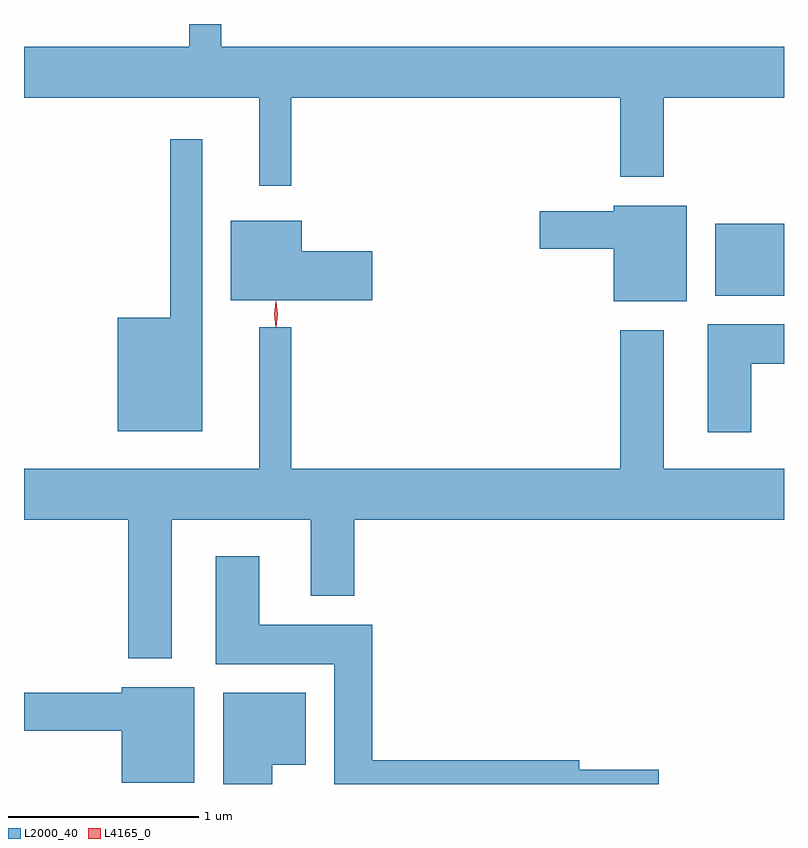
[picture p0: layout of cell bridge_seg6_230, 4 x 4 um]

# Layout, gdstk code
import gdstk
lib = gdstk.Library(unit=1e-6, precision=1e-09)
def R(c, l, rs):  # rectangles x0, y0, x1, y1
    for r in rs: c.add(gdstk.rectangle(r[:2], r[2:], *l))
def P(c, l, *ps):  # polygons
    for p in ps: c.add(gdstk.Polygon(p, *l))
L2000_40 = (2000, 40)
L4165_0 = (4165, 0)

bridge_seg6_230 = lib.new_cell('bridge_seg6_230')
R(bridge_seg6_230, L2000_40, [(1138.601,1542.336,1138.962,1542.714)])
P(bridge_seg6_230, L2000_40, [(1136.369,1543.376),(1138.101,1543.376),(1138.101,1542.961),(1138.329,1542.961),(1138.329,1543.376),(1138.962,1543.376),(1138.962,1543.644),(1135.999,1543.644),(1135.999,1543.765),(1135.831,1543.765),(1135.831,1543.644),(1134.962,1543.644),(1134.962,1543.376),(1136.201,1543.376),(1136.201,1542.913),(1136.369,1542.913)],
  [(1135.899,1543.158),(1135.731,1543.158),(1135.731,1542.219),(1135.456,1542.219),(1135.456,1541.621),(1135.899,1541.621)],
  [(1138.449,1542.809),(1138.066,1542.809),(1138.066,1542.779),(1137.676,1542.779),(1137.676,1542.581),(1138.066,1542.581),(1138.066,1542.306),(1138.449,1542.306)],
  [(1136.794,1542.569),(1136.424,1542.569),(1136.424,1542.729),(1136.051,1542.729),(1136.051,1542.311),(1136.794,1542.311)],
  [(1138.789,1541.976),(1138.962,1541.976),(1138.962,1542.184),(1138.561,1542.184),(1138.561,1541.616),(1138.789,1541.616)],
  [(1135.739,1541.156),(1136.471,1541.156),(1136.471,1540.756),(1136.699,1540.756),(1136.699,1541.156),(1138.962,1541.156),(1138.962,1541.424),(1138.329,1541.424),(1138.329,1542.154),(1138.101,1542.154),(1138.101,1541.424),(1136.369,1541.424),(1136.369,1542.168),(1136.201,1542.168),(1136.201,1541.424),(1134.962,1541.424),(1134.962,1541.156),(1135.511,1541.156),(1135.511,1540.426),(1135.739,1540.426)],
  [(1138.304,1539.839),(1137.884,1539.839),(1137.884,1539.889),(1136.794,1539.889),(1136.794,1540.604),(1136.199,1540.604),(1136.199,1540.964),(1135.971,1540.964),(1135.971,1540.396),(1136.596,1540.396),(1136.596,1539.765),(1138.304,1539.765)],
  [(1135.859,1540.274),(1135.476,1540.274),(1135.476,1540.244),(1134.962,1540.244),(1134.962,1540.046),(1135.476,1540.046),(1135.476,1539.771),(1135.859,1539.771)],
  [(1136.269,1539.866),(1136.444,1539.866),(1136.444,1540.244),(1136.011,1540.244),(1136.011,1539.765),(1136.269,1539.765)])
P(bridge_seg6_230, L4165_0, [(1136.288,1542.173),(1136.288,1542.174),(1136.278,1542.236),(1136.288,1542.3),(1136.288,1542.3),(1136.288,1542.3),(1136.298,1542.236),(1136.288,1542.174)],
  [(1136.288,1542.17),(1136.288,1542.17),(1136.278,1542.238),(1136.288,1542.305),(1136.288,1542.306),(1136.289,1542.305),(1136.298,1542.238),(1136.289,1542.17)])

lib.write_gds('bridge_seg6_230.gds')
